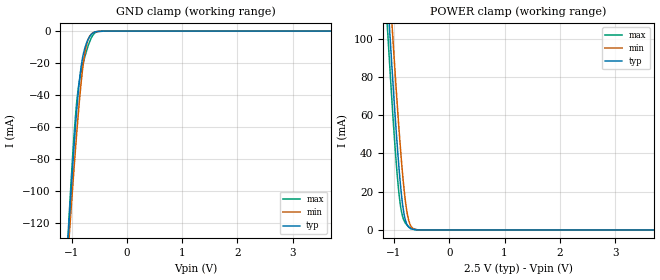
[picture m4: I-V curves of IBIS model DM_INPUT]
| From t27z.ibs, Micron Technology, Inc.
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|   MODEL DM_INPUT
[Model]   DM_INPUT
Model_type   Input
Vinl = 0.940V
Vinh = 1.560V
|   typ   min   max
C_comp   3.36pF   3.21pF   3.52pF
[Model Spec]
| Input threshold voltage corners
Vinh   1.560V   1.460V   1.660V
Vinl   0.940V   0.840V   1.040V
| Overshoot/Undershoot
S_overshoot_high   2.800V   2.600V   3.000V
S_overshoot_low   -0.300V   NA   NA
[Receiver Thresholds]
Vth   =  1.250V
Vth_min  =  1.225V
Vth_max  =  1.275V
Vinh_ac  =  0.310V
Vinh_dc  =  0.150V
Vinl_ac  = -0.310V
Vinl_dc  = -0.150V
Tslew_ac =  10.000ns |Not specified, so set to high value
[Voltage Range]   2.500V   2.300V   2.700V
| Junction Temperature (Ambient temp is 25C typ, 70C min, 0C max)
[Temperature Range]   40.0   85.0   0.0
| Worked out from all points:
|   GND clamp passes 1 mA (typ) near -0.60 V on its own axis
|   POWER clamp passes 1 mA (typ) near -0.72 V on its own axis
[GND Clamp]
|   Voltage   I(typ)   I(min)   I(max)
-2.5V     -1.053A    -942.4mA   -1.215A
-1.065V   -131.9mA   -140.4mA   -129.7mA
-1.04V    -117.7mA   NA         NA
-970mV    -80.02mA   NA         -73.34mA
-930mV    -60.41mA   NA         -54.14mA
-880mV    -39.16mA   NA         -36.51mA
-830mV    -23.29mA   NA         NA
-740mV    -8.594mA   NA         NA
-670mV    -3.348mA   NA         NA
-610mV    -1.145mA   NA         NA
-380mV    0A         NA         0A
5V        0A         0A         0A
[POWER Clamp]
|   Voltage   I(typ)   I(min)   I(max)
-2.5V     869.4mA    879.5mA    866.4mA
-1.13V    129.1mA    NA         NA
-1.1V     114.5mA    NA         NA
-1.07V    100.3mA    123.2mA    NA
-1.04V    86.38mA    NA         68.61mA
-1.01V    72.86mA    NA         NA
-950mV    47.5mA     NA         NA
-890mV    25.76mA    NA         NA
-840mV    12.37mA    NA         NA
-790mV    4.751mA    NA         NA
-690mV    561.2uA    NA         846.7uA
5V        0A         0A         0A
